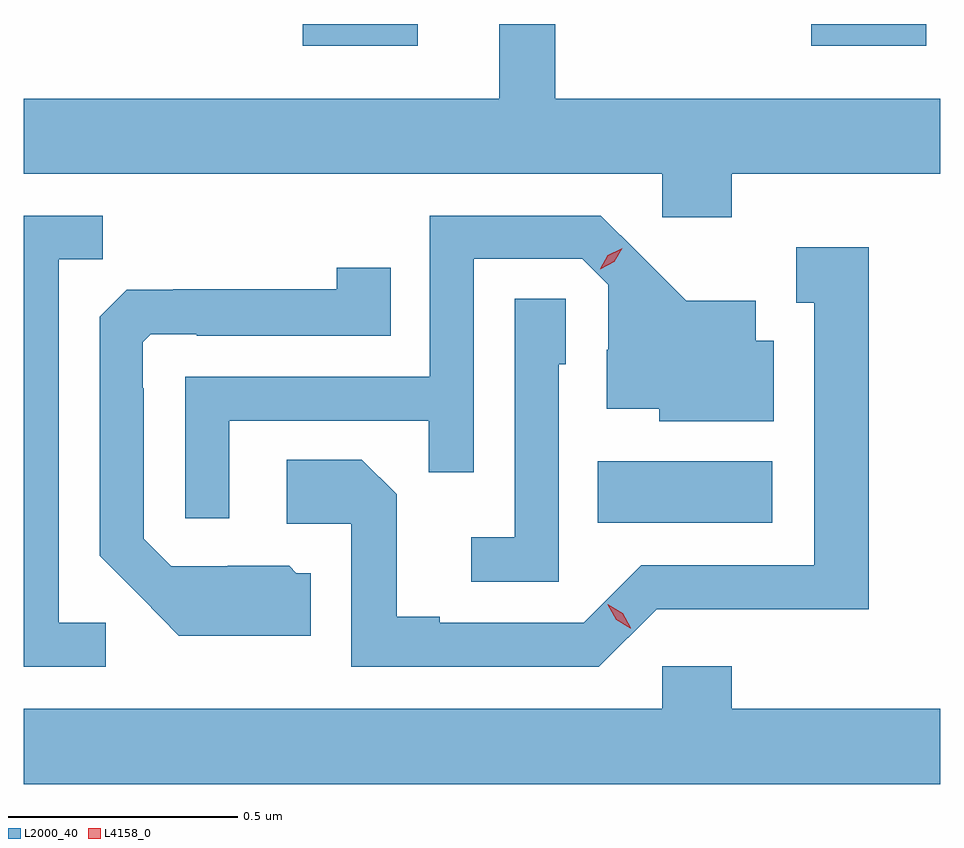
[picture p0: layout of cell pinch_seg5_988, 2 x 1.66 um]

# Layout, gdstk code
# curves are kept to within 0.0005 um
import gdstk
lib = gdstk.Library(unit=1e-6, precision=1e-09)
def R(c, l, rs):  # rectangles x0, y0, x1, y1
    for r in rs: c.add(gdstk.rectangle(r[:2], r[2:], *l))
def P(c, l, *ps):  # polygons
    for p in ps: c.add(gdstk.Polygon(p, *l))
L2000_40 = (2000, 40)
L4158_0 = (4158, 0)

pinch_seg5_988 = lib.new_cell('pinch_seg5_988')
R(pinch_seg5_988, L2000_40, [(699.472,913.274,699.853,913.408), (698.828,914.315,699.079,914.363), (699.938,914.315,700.189,914.363)])
P(pinch_seg5_988, L2000_40, [(699.764,914.036),(700.219,914.036),(700.219,914.2),(699.379,914.2),(699.379,914.363),(699.257,914.363),(699.257,914.2),(698.219,914.2),(698.219,914.036),(699.612,914.036),(699.612,913.941),(699.764,913.941)],
  [(698.398,913.056),(698.295,913.056),(698.295,913.849),(698.391,913.849),(698.391,913.944),(698.219,913.944),(698.219,912.96),(698.398,912.96)],
  [(698.667,913.497),(699.103,913.497),(699.103,913.384),(699.201,913.384),(699.201,913.851),(699.438,913.851),(699.495,913.794),(699.495,913.652),(699.491,913.652),(699.491,913.523),(699.606,913.523),(699.606,913.496),(699.856,913.496),(699.856,913.672),(699.817,913.672),(699.817,913.759),(699.665,913.759),(699.478,913.944),(699.105,913.944),(699.105,913.593),(698.571,913.593),(698.571,913.284),(698.667,913.284)],
  [(699.6,913.086),(699.822,913.086),(699.822,913.085),(700.063,913.085),(700.063,913.876),(699.905,913.876),(699.905,913.755),(699.944,913.755),(699.944,913.182),(699.567,913.182),(699.441,913.056),(699.127,913.056),(699.127,913.069),(699.033,913.069),(699.033,913.336),(698.957,913.412),(698.793,913.412),(698.793,913.272),(698.934,913.272),(698.934,912.96),(699.474,912.96)],
  [(698.845,913.164),(698.814,913.164),(698.798,913.18),(698.664,913.18),(698.664,913.179),(698.541,913.179),(698.481,913.239),(698.481,913.568),(698.478,913.568),(698.478,913.668),(698.496,913.686),(698.596,913.686),(698.596,913.683),(699.02,913.683),(699.02,913.831),(698.902,913.831),(698.902,913.784),(698.545,913.784),(698.545,913.783),(698.444,913.783),(698.385,913.724),(698.385,913.202),(698.557,913.028),(698.845,913.028)],
  [(699.387,913.62),(699.402,913.62),(699.402,913.763),(699.291,913.763),(699.291,913.243),(699.195,913.243),(699.195,913.146),(699.387,913.146)],
  [(700.219,912.868),(699.764,912.868),(699.764,912.961),(699.612,912.961),(699.612,912.868),(698.219,912.868),(698.219,912.704),(700.219,912.704)])
P(pinch_seg5_988, L4158_0, [(699.543,913.044),(699.512,913.063),(699.494,913.095),(699.494,913.096),(699.494,913.096),(699.526,913.077),(699.544,913.045),(699.544,913.044)],
  [(699.477,913.828),(699.477,913.829),(699.494,913.858),(699.525,913.874),(699.525,913.874),(699.525,913.873),(699.508,913.844),(699.477,913.828)])

lib.write_gds('pinch_seg5_988.gds')
